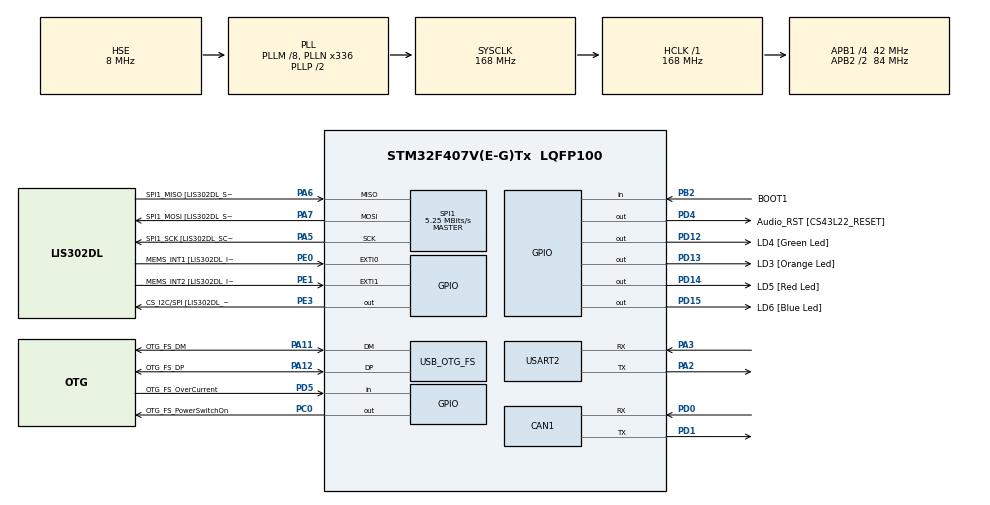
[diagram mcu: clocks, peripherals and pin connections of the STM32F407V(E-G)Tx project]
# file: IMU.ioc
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CAN1.BS1=CAN_BS1_16TQ
CAN1.BS2=CAN_BS2_8TQ
CAN1.CalculateTimeBit=9523
CAN1.CalculateTimeQuantum=380.95238095238096
CAN1.SJW=CAN_SJW_4TQ
Mcu.Family=STM32F4
Mcu.Name=STM32F407V(E-G)Tx
Mcu.Package=LQFP100
NVIC.OTG_FS_IRQn=true\:0\:0\:false
NVIC.PriorityGroup=NVIC_PRIORITYGROUP_4
NVIC.TIM8_UP_TIM13_IRQn=true\:0\:0\:false
NVIC.USART2_IRQn=true\:0\:0\:false
PA10.GPIO_Label=OTG_FS_ID
PA10.GPIO_Mode=GPIO_MODE_AF_PP
PA10.GPIO_PuPd=GPIO_NOPULL
PA10.GPIO_Speed=GPIO_SPEED_LOW
PA10.Signal=USB_OTG_FS_ID
PA11.GPIO_Label=OTG_FS_DM
PA11.GPIO_Mode=GPIO_MODE_AF_PP
PA11.GPIO_PuPd=GPIO_NOPULL
PA11.GPIO_Speed=GPIO_SPEED_LOW
PA11.Mode=Device_Only
PA11.Signal=USB_OTG_FS_DM
PA12.GPIO_Label=OTG_FS_DP
PA12.GPIO_Mode=GPIO_MODE_AF_PP
PA12.GPIO_PuPd=GPIO_NOPULL
PA12.GPIO_Speed=GPIO_SPEED_LOW
PA12.Mode=Device_Only
PA12.Signal=USB_OTG_FS_DP
PA13.GPIO_Label=SWDIO
PA13.Mode=Trace-Asynchronous_SW
PA13.Signal=SYS_JTMS-SWDIO
PA14.GPIO_Label=SWCLK
PA14.Mode=Trace-Asynchronous_SW
PA14.Signal=SYS_JTCK-SWCLK
PA2.Mode=Multiprocessor_communication
PA2.Signal=USART2_TX
PA3.Mode=Multiprocessor_communication
PA3.Signal=USART2_RX
PA4.GPIO_Label=I2S3_WS [CS43L22_LRCK]
PA4.GPIO_Mode=GPIO_MODE_AF_PP
PA4.GPIO_PuPd=GPIO_NOPULL
PA4.GPIO_Speed=GPIO_SPEED_LOW
PA4.Signal=I2S3_WS
PA5.GPIO_Label=SPI1_SCK [LIS302DL_SCL/SPC]
PA5.GPIO_Mode=GPIO_MODE_AF_PP
PA5.GPIO_PuPd=GPIO_NOPULL
PA5.GPIO_Speed=GPIO_SPEED_LOW
PA5.Mode=Full_Duplex_Master
PA5.Signal=SPI1_SCK
PA6.GPIO_Label=SPI1_MISO [LIS302DL_SDO]
PA6.GPIO_Mode=GPIO_MODE_AF_PP
PA6.GPIO_PuPd=GPIO_NOPULL
PA6.GPIO_Speed=GPIO_SPEED_LOW
PA6.Mode=Full_Duplex_Master
PA6.Signal=SPI1_MISO
PA7.GPIO_Label=SPI1_MOSI [LIS302DL_SDA/SDI/SDO]
PA7.GPIO_Mode=GPIO_MODE_AF_PP
PA7.GPIO_PuPd=GPIO_NOPULL
PA7.GPIO_Speed=GPIO_SPEED_LOW
PA7.Mode=Full_Duplex_Master
PA7.Signal=SPI1_MOSI
PA9.GPIO_Label=VBUS_FS
PA9.GPIO_Mode=GPIO_MODE_INPUT
PA9.GPIO_PuPd=GPIO_NOPULL
PA9.Signal=USB_OTG_FS_VBUS
PB10.GPIO_Label=CLK_IN [MP45DT02_CLK]
PB10.GPIO_Mode=GPIO_MODE_AF_PP
PB10.GPIO_PuPd=GPIO_NOPULL
PB10.GPIO_Speed=GPIO_SPEED_LOW
PB10.Signal=I2S2_CK
PB2.GPIO_Label=BOOT1
PB2.GPIO_Mode=GPIO_MODE_INPUT
PB2.GPIO_PuPd=GPIO_NOPULL
PB2.Signal=GPIO_Input
PB3.GPIO_Label=SWO
PB3.Mode=Trace-Asynchronous_SW
PB3.Signal=SYS_JTDO-SWO
PB6.GPIO_Label=Audio_SCL [CS43L22_SCL]
PB6.GPIO_Mode=GPIO_MODE_AF_OD
PB6.GPIO_PuPd=GPIO_NOPULL
PB6.GPIO_PuPdOD=GPIO_PULLUP
PB6.GPIO_Speed=GPIO_SPEED_LOW
PB6.Signal=I2C1_SCL
PB9.GPIO_Label=Audio_SDA [CS43L22_SDA]
PB9.GPIO_Mode=GPIO_MODE_AF_OD
PB9.GPIO_PuPd=GPIO_NOPULL
PB9.GPIO_PuPdOD=GPIO_PULLUP
PB9.GPIO_Speed=GPIO_SPEED_LOW
PB9.Signal=I2C1_SDA
PC0.GPIO_Label=OTG_FS_PowerSwitchOn
PC0.GPIO_ModeDefaultOutputPP=GPIO_MODE_OUTPUT_PP
PC0.GPIO_PuPd=GPIO_NOPULL
PC0.GPIO_Speed=GPIO_SPEED_LOW
PC0.Signal=GPIO_Output
PC10.GPIO_Label=I2S3_SCK [CS43L22_SCLK]
PC10.GPIO_Mode=GPIO_MODE_AF_PP
PC10.GPIO_PuPd=GPIO_NOPULL
PC10.GPIO_Speed=GPIO_SPEED_LOW
PC10.Signal=I2S3_CK
PC12.GPIO_Label=I2S3_SD [CS43L22_SDIN]
PC12.GPIO_Mode=GPIO_MODE_AF_PP
PC12.GPIO_PuPd=GPIO_NOPULL
PC12.GPIO_Speed=GPIO_SPEED_LOW
PC12.Signal=I2S3_SD
PC14-OSC32_IN.GPIO_Label=PC14-OSC32_IN
PC14-OSC32_IN.Signal=RCC_OSC32_IN
PC15-OSC32_OUT.GPIO_Label=PC15-OSC32_OUT
PC15-OSC32_OUT.Signal=RCC_OSC32_OUT
PC3.GPIO_Label=PDM_OUT [MP45DT02_DOUT]
PC3.GPIO_Mode=GPIO_MODE_AF_PP
PC3.GPIO_PuPd=GPIO_NOPULL
PC3.GPIO_Speed=GPIO_SPEED_LOW
PC3.Signal=I2S2_SD
PC7.GPIO_Label=I2S3_MCK [CS43L22_MCLK]
PC7.GPIO_Mode=GPIO_MODE_AF_PP
PC7.GPIO_PuPd=GPIO_NOPULL
PC7.GPIO_Speed=GPIO_SPEED_LOW
PC7.Signal=I2S3_MCK
PD0.Mode=Master
PD0.Signal=CAN1_RX
PD1.Mode=Master
PD1.Signal=CAN1_TX
PD12.GPIO_Label=LD4 [Green Led]
PD12.GPIO_ModeDefaultOutputPP=GPIO_MODE_OUTPUT_PP
PD12.GPIO_PuPd=GPIO_NOPULL
PD12.GPIO_Speed=GPIO_SPEED_LOW
PD12.Signal=GPIO_Output
PD13.GPIO_Label=LD3 [Orange Led]
PD13.GPIO_ModeDefaultOutputPP=GPIO_MODE_OUTPUT_PP
PD13.GPIO_PuPd=GPIO_NOPULL
PD13.GPIO_Speed=GPIO_SPEED_LOW
PD13.Signal=GPIO_Output
PD14.GPIO_Label=LD5 [Red Led]
PD14.GPIO_ModeDefaultOutputPP=GPIO_MODE_OUTPUT_PP
PD14.GPIO_PuPd=GPIO_NOPULL
PD14.GPIO_Speed=GPIO_SPEED_LOW
PD14.Signal=GPIO_Output
PD15.GPIO_Label=LD6 [Blue Led]
PD15.GPIO_ModeDefaultOutputPP=GPIO_MODE_OUTPUT_PP
PD15.GPIO_PuPd=GPIO_NOPULL
PD15.GPIO_Speed=GPIO_SPEED_LOW
PD15.Signal=GPIO_Output
PD4.GPIO_Label=Audio_RST [CS43L22_RESET]
PD4.GPIO_ModeDefaultOutputPP=GPIO_MODE_OUTPUT_PP
PD4.GPIO_PuPd=GPIO_NOPULL
PD4.GPIO_Speed=GPIO_SPEED_LOW
PD4.Signal=GPIO_Output
PD5.GPIO_Label=OTG_FS_OverCurrent
PD5.GPIO_Mode=GPIO_MODE_INPUT
PD5.GPIO_PuPd=GPIO_NOPULL
PD5.Signal=GPIO_Input
PE0.GPIO_Label=MEMS_INT1 [LIS302DL_INT1]
PE0.GPIO_ModeDefaultEXTI=GPIO_MODE_IT_RISING
PE0.GPIO_PuPd=GPIO_NOPULL
PE0.Signal=GPXTI0
PE1.GPIO_Label=MEMS_INT2 [LIS302DL_INT2]
PE1.GPIO_ModeDefaultEXTI=GPIO_MODE_EVT_RISING
PE1.GPIO_PuPd=GPIO_NOPULL
PE1.Signal=GPXTI1
PE3.GPIO_Label=CS_I2C/SPI [LIS302DL_CS_I2C/SPI]
PE3.GPIO_ModeDefaultOutputPP=GPIO_MODE_OUTPUT_PP
PE3.GPIO_PuPd=GPIO_NOPULL
PE3.GPIO_Speed=GPIO_SPEED_LOW
PE3.Signal=GPIO_Output
PH0-OSC_IN.GPIO_Label=PH0-OSC_IN
PH0-OSC_IN.Mode=HSE-External-Oscillator
PH0-OSC_IN.Signal=RCC_OSC_IN
PH1-OSC_OUT.GPIO_Label=PH1-OSC_OUT
PH1-OSC_OUT.Mode=HSE-External-Oscillator
PH1-OSC_OUT.Signal=RCC_OSC_OUT
ProjectManager.TargetToolchain=SW4STM32
RCC.AHBFreq_Value=168000000
RCC.APB1CLKDivider=RCC_HCLK_DIV4
RCC.APB1Freq_Value=42000000
RCC.APB1TimFreq_Value=84000000
RCC.APB2CLKDivider=RCC_HCLK_DIV2
RCC.APB2Freq_Value=84000000
RCC.APB2TimFreq_Value=168000000
RCC.CortexFreq_Value=168000000
RCC.HCLKFreq_Value=168000000
RCC.HSE_VALUE=8000000
RCC.HSI_VALUE=16000000
RCC.LSE_VALUE=32768
RCC.PLLM=8
RCC.PLLN=336
RCC.PLLQ=7
RCC.SYSCLKFreq_VALUE=168000000
RCC.SYSCLKSource=RCC_SYSCLKSOURCE_PLLCLK
RCC.VCOOutputFreq_Value=336000000
SPI1.BaudRatePrescaler=SPI_BAUDRATEPRESCALER_16
SPI1.CalculateBaudRate=5.25 MBits/s
SPI1.Mode=SPI_MODE_MASTER
TIM13.ClockDivision=TIM_CLOCKDIVISION_DIV2
TIM13.Period=0
TIM13.Prescaler=42000
USB_DEVICE.CLASS_NAME-CDC_FS=CDC
USB_DEVICE.USBD_HandleTypeDef-CDC_FS=hUsbDeviceFS
USB_DEVICE.VirtualMode-CDC_FS=Cdc
USB_DEVICE.VirtualModeFS=Cdc_FS
USB_OTG_FS.VirtualMode=Device_Only
VP_TIM13_VS_ClockSourceINT.Mode=Enable_Timer
VP_USB_DEVICE_VS_USB_DEVICE_CDC_FS.Mode=CDC_FS
board=STM32F4DISCOVERY

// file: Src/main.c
/**
  ******************************************************************************
  * File Name          : main.c
  * Description        : Main program body
  ******************************************************************************
  *
  * COPYRIGHT(c) 2016 STMicroelectronics
  *
  * Redistribution and use in source and binary forms, with or without modification,
  * are permitted provided that the following conditions are met:
  *   1. Redistributions of source code must retain the above copyright notice,
  *      this list of conditions and the following disclaimer.
  *   2. Redistributions in binary form must reproduce the above copyright notice,
  *      this list of conditions and the following disclaimer in the documentation
  *      and/or other materials provided with the distribution.
  *   3. Neither the name of STMicroelectronics nor the names of its contributors
  *      may be used to endorse or promote products derived from this software
  *      without specific prior written permission.
  *
  * THIS SOFTWARE IS PROVIDED BY THE COPYRIGHT HOLDERS AND CONTRIBUTORS "AS IS"
  * AND ANY EXPRESS OR IMPLIED WARRANTIES, INCLUDING, BUT NOT LIMITED TO, THE
  * IMPLIED WARRANTIES OF MERCHANTABILITY AND FITNESS FOR A PARTICULAR PURPOSE ARE
  * DISCLAIMED. IN NO EVENT SHALL THE COPYRIGHT HOLDER OR CONTRIBUTORS BE LIABLE
  * FOR ANY DIRECT, INDIRECT, INCIDENTAL, SPECIAL, EXEMPLARY, OR CONSEQUENTIAL
  * DAMAGES (INCLUDING, BUT NOT LIMITED TO, PROCUREMENT OF SUBSTITUTE GOODS OR
  * SERVICES; LOSS OF USE, DATA, OR PROFITS; OR BUSINESS INTERRUPTION) HOWEVER
  * CAUSED AND ON ANY THEORY OF LIABILITY, WHETHER IN CONTRACT, STRICT LIABILITY,
  * OR TORT (INCLUDING NEGLIGENCE OR OTHERWISE) ARISING IN ANY WAY OUT OF THE USE
  * OF THIS SOFTWARE, EVEN IF ADVISED OF THE POSSIBILITY OF SUCH DAMAGE.
  *
  ******************************************************************************
  */

/**
 * @author: Engin Subasi
 */
#include "stm32f4xx_hal.h"
#include "usb_device.h"
#include "stm32f4xx_it.h"
#include "usbd_cdc_if.h"

/* USER CODE BEGIN Includes */
#include <stdio.h>
#include <string.h>

#include "USBD_CDC.h"

#include "LIS3DSH_HAL.h"
#include "stm32f4xx_hal_spi.h"
/* USER CODE END Includes */

CAN_HandleTypeDef hcan1;

SPI_HandleTypeDef hspi1;

TIM_HandleTypeDef htim13;

UART_HandleTypeDef huart2;

/* USER CODE BEGIN PV */
/* Private variables ---------------------------------------------------------*/
uint8_t traTemp[64];

/* USER CODE END PV */

void SystemClock_Config(void);
static void MX_GPIO_Init(void);
static void MX_CAN1_Init(void);
static void MX_SPI1_Init(void);
static void MX_TIM13_Init(void);
static void MX_USART2_UART_Init(void);

/* USER CODE BEGIN PFP */
/* Private function prototypes -----------------------------------------------*/
void appMain1(void);
void appMain2(void);

/* USER CODE END PFP */

int main(void)
{

  /* MCU Configuration----------------------------------------------------------*/

  /* Reset of all peripherals, Initializes the Flash interface and the Systick. */
  HAL_Init();

  /* Configure the system clock */
  SystemClock_Config();

  /* Initialize all configured peripherals */
  MX_GPIO_Init();
  MX_CAN1_Init();
  MX_SPI1_Init();
  MX_TIM13_Init();
  MX_USART2_UART_Init();
  MX_USB_DEVICE_Init();

  /* USER CODE BEGIN 2 */
  HAL_TIM_Base_Start_IT(&htim13);

  LIS3DSH_HAL_Init(&hspi1);

  LIS3DSH_HAL_WriteReg8(LIS3DSH_REG_CTRL4,0b10010111);
  LIS3DSH_HAL_WriteReg8(LIS3DSH_REG_OFFX,0);
  LIS3DSH_HAL_WriteReg8(LIS3DSH_REG_OFFY,0);
  LIS3DSH_HAL_WriteReg8(LIS3DSH_REG_OFFZ,0);
  HAL_GPIO_TogglePin(GPIOD,GPIO_PIN_12);
  /* USER CODE END 2 */

  /* Infinite loop */
  /* USER CODE BEGIN WHILE */
  while(getMs()<1000);
  while (1)
  {
	  appMain1();
	  appMain2();

  /* USER CODE END WHILE */

  }

}

/** System Clock Configuration
*/
void SystemClock_Config(void)
{

  RCC_OscInitTypeDef RCC_OscInitStruct;
  RCC_ClkInitTypeDef RCC_ClkInitStruct;

  __PWR_CLK_ENABLE();

  __HAL_PWR_VOLTAGESCALING_CONFIG(PWR_REGULATOR_VOLTAGE_SCALE1);

  RCC_OscInitStruct.OscillatorType = RCC_OSCILLATORTYPE_HSE;
  RCC_OscInitStruct.HSEState = RCC_HSE_ON;
  RCC_OscInitStruct.PLL.PLLState = RCC_PLL_ON;
  RCC_OscInitStruct.PLL.PLLSource = RCC_PLLSOURCE_HSE;
  RCC_OscInitStruct.PLL.PLLM = 8;
  RCC_OscInitStruct.PLL.PLLN = 336;
  RCC_OscInitStruct.PLL.PLLP = RCC_PLLP_DIV2;
  RCC_OscInitStruct.PLL.PLLQ = 7;
  HAL_RCC_OscConfig(&RCC_OscInitStruct);

  RCC_ClkInitStruct.ClockType = RCC_CLOCKTYPE_SYSCLK|RCC_CLOCKTYPE_PCLK1
                              |RCC_CLOCKTYPE_PCLK2;
  RCC_ClkInitStruct.SYSCLKSource = RCC_SYSCLKSOURCE_PLLCLK;
  RCC_ClkInitStruct.AHBCLKDivider = RCC_SYSCLK_DIV1;
  RCC_ClkInitStruct.APB1CLKDivider = RCC_HCLK_DIV4;
  RCC_ClkInitStruct.APB2CLKDivider = RCC_HCLK_DIV2;
  HAL_RCC_ClockConfig(&RCC_ClkInitStruct, FLASH_LATENCY_5);

  HAL_SYSTICK_Config(HAL_RCC_GetHCLKFreq()/1000);

  HAL_SYSTICK_CLKSourceConfig(SYSTICK_CLKSOURCE_HCLK);

}

/* CAN1 init function */
void MX_CAN1_Init(void)
{

  hcan1.Instance = CAN1;
  hcan1.Init.Prescaler = 16;
  hcan1.Init.Mode = CAN_MODE_NORMAL;
  hcan1.Init.SJW = CAN_SJW_4TQ;
  hcan1.Init.BS1 = CAN_BS1_16TQ;
  hcan1.Init.BS2 = CAN_BS2_8TQ;
  hcan1.Init.TTCM = DISABLE;
  hcan1.Init.ABOM = DISABLE;
  hcan1.Init.AWUM = DISABLE;
  hcan1.Init.NART = DISABLE;
  hcan1.Init.RFLM = DISABLE;
  hcan1.Init.TXFP = DISABLE;
  HAL_CAN_Init(&hcan1);

}

/* SPI1 init function */
void MX_SPI1_Init(void)
{

  hspi1.Instance = SPI1;
  hspi1.Init.Mode = SPI_MODE_MASTER;
  hspi1.Init.Direction = SPI_DIRECTION_2LINES;
  hspi1.Init.DataSize = SPI_DATASIZE_8BIT;

  hspi1.Init.CLKPolarity = SPI_POLARITY_LOW;
 		  hspi1.Init.CLKPhase = SPI_PHASE_1EDGE;

  hspi1.Init.NSS = SPI_NSS_SOFT;
  hspi1.Init.BaudRatePrescaler = SPI_BAUDRATEPRESCALER_8;
  hspi1.Init.FirstBit = SPI_FIRSTBIT_MSB;
  hspi1.Init.TIMode = SPI_TIMODE_DISABLED;
  hspi1.Init.CRCCalculation = SPI_CRCCALCULATION_DISABLED;
  hspi1.Init.CRCPolynomial = 10;
  HAL_SPI_Init(&hspi1);

}

/* TIM13 init function */
void MX_TIM13_Init(void)
{

  htim13.Instance = TIM13;
  htim13.Init.Prescaler = 1;
  htim13.Init.CounterMode = TIM_COUNTERMODE_UP;
  htim13.Init.Period = 42000;
  htim13.Init.ClockDivision = TIM_CLOCKDIVISION_DIV2;
  HAL_TIM_Base_Init(&htim13);

}

/* USART2 init function */
void MX_USART2_UART_Init(void)
{

  huart2.Instance = USART2;
  huart2.Init.BaudRate = 115200;
  huart2.Init.WordLength = UART_WORDLENGTH_8B;
  huart2.Init.StopBits = UART_STOPBITS_1;
  huart2.Init.Parity = UART_PARITY_NONE;
  huart2.Init.Mode = UART_MODE_TX_RX;
  huart2.Init.HwFlowCtl = UART_HWCONTROL_NONE;
  huart2.Init.OverSampling = UART_OVERSAMPLING_16;
  HAL_MultiProcessor_Init(&huart2, 0, UART_WAKEUPMETHODE_IDLELINE);

}

/** Configure pins as
        * Analog
        * Input
        * Output
        * EVENT_OUT
        * EXTI
     PC3   ------> I2S2_SD
     PA4   ------> I2S3_WS
     PB10   ------> I2S2_CK
     PC7   ------> I2S3_MCK
     PC10   ------> I2S3_CK
     PC12   ------> I2S3_SD
     PB6   ------> I2C1_SCL
     PB9   ------> I2C1_SDA
*/
void MX_GPIO_Init(void)
{

  GPIO_InitTypeDef GPIO_InitStruct;

  /* GPIO Ports Clock Enable */
  __GPIOE_CLK_ENABLE();
  __GPIOC_CLK_ENABLE();
  __GPIOH_CLK_ENABLE();
  __GPIOA_CLK_ENABLE();
  __GPIOB_CLK_ENABLE();
  __GPIOD_CLK_ENABLE();

  /*Configure GPIO pin : PE3 */
  GPIO_InitStruct.Pin = GPIO_PIN_3;
  GPIO_InitStruct.Mode = GPIO_MODE_OUTPUT_PP;
  GPIO_InitStruct.Pull = GPIO_NOPULL;
  GPIO_InitStruct.Speed = GPIO_SPEED_HIGH;
  HAL_GPIO_Init(GPIOE, &GPIO_InitStruct);

  /*Configure GPIO pin : PC0 */
  GPIO_InitStruct.Pin = GPIO_PIN_0;
  GPIO_InitStruct.Mode = GPIO_MODE_OUTPUT_PP;
  GPIO_InitStruct.Pull = GPIO_NOPULL;
  GPIO_InitStruct.Speed = GPIO_SPEED_LOW;
  HAL_GPIO_Init(GPIOC, &GPIO_InitStruct);

  /*Configure GPIO pin : PC3 */
  GPIO_InitStruct.Pin = GPIO_PIN_3;
  GPIO_InitStruct.Mode = GPIO_MODE_AF_PP;
  GPIO_InitStruct.Pull = GPIO_NOPULL;
  GPIO_InitStruct.Speed = GPIO_SPEED_LOW;
  GPIO_InitStruct.Alternate = GPIO_AF5_SPI2;
  HAL_GPIO_Init(GPIOC, &GPIO_InitStruct);

  /*Configure GPIO pin : PA4 */
  GPIO_InitStruct.Pin = GPIO_PIN_4;
  GPIO_InitStruct.Mode = GPIO_MODE_AF_PP;
  GPIO_InitStruct.Pull = GPIO_NOPULL;
  GPIO_InitStruct.Speed = GPIO_SPEED_LOW;
  GPIO_InitStruct.Alternate = GPIO_AF6_SPI3;
  HAL_GPIO_Init(GPIOA, &GPIO_InitStruct);

  /*Configure GPIO pin : PB2 */
  GPIO_InitStruct.Pin = GPIO_PIN_2;
  GPIO_InitStruct.Mode = GPIO_MODE_INPUT;
  GPIO_InitStruct.Pull = GPIO_NOPULL;
  HAL_GPIO_Init(GPIOB, &GPIO_InitStruct);

  /*Configure GPIO pin : PB10 */
  GPIO_InitStruct.Pin = GPIO_PIN_10;
  GPIO_InitStruct.Mode = GPIO_MODE_AF_PP;
  GPIO_InitStruct.Pull = GPIO_NOPULL;
  GPIO_InitStruct.Speed = GPIO_SPEED_LOW;
  GPIO_InitStruct.Alternate = GPIO_AF5_SPI2;
  HAL_GPIO_Init(GPIOB, &GPIO_InitStruct);

  /*Configure GPIO pins : PD12 PD13 PD14 PD15
                           PD4 */
  GPIO_InitStruct.Pin = GPIO_PIN_12|GPIO_PIN_13|GPIO_PIN_14|GPIO_PIN_15
                          |GPIO_PIN_4;
  GPIO_InitStruct.Mode = GPIO_MODE_OUTPUT_PP;
  GPIO_InitStruct.Pull = GPIO_NOPULL;
  GPIO_InitStruct.Speed = GPIO_SPEED_LOW;
  HAL_GPIO_Init(GPIOD, &GPIO_InitStruct);

  /*Configure GPIO pins : PC7 PC10 PC12 */
  GPIO_InitStruct.Pin = GPIO_PIN_7|GPIO_PIN_10|GPIO_PIN_12;
  GPIO_InitStruct.Mode = GPIO_MODE_AF_PP;
  GPIO_InitStruct.Pull = GPIO_NOPULL;
  GPIO_InitStruct.Speed = GPIO_SPEED_LOW;
  GPIO_InitStruct.Alternate = GPIO_AF6_SPI3;
  HAL_GPIO_Init(GPIOC, &GPIO_InitStruct);

  /*Configure GPIO pin : PD5 */
  GPIO_InitStruct.Pin = GPIO_PIN_5;
  GPIO_InitStruct.Mode = GPIO_MODE_INPUT;
  GPIO_InitStruct.Pull = GPIO_NOPULL;
  HAL_GPIO_Init(GPIOD, &GPIO_InitStruct);

  /*Configure GPIO pins : PB6 PB9 */
  GPIO_InitStruct.Pin = GPIO_PIN_6|GPIO_PIN_9;
  GPIO_InitStruct.Mode = GPIO_MODE_AF_OD;
  GPIO_InitStruct.Pull = GPIO_PULLUP;
  GPIO_InitStruct.Speed = GPIO_SPEED_LOW;
  GPIO_InitStruct.Alternate = GPIO_AF4_I2C1;
  HAL_GPIO_Init(GPIOB, &GPIO_InitStruct);

  /*Configure GPIO pin : PE0 */
  GPIO_InitStruct.Pin = GPIO_PIN_0;
  GPIO_InitStruct.Mode = GPIO_MODE_IT_RISING;
  GPIO_InitStruct.Pull = GPIO_NOPULL;
  HAL_GPIO_Init(GPIOE, &GPIO_InitStruct);

  /*Configure GPIO pin : PE1 */
  GPIO_InitStruct.Pin = GPIO_PIN_1;
  GPIO_InitStruct.Mode = GPIO_MODE_EVT_RISING;
  GPIO_InitStruct.Pull = GPIO_NOPULL;
  HAL_GPIO_Init(GPIOE, &GPIO_InitStruct);

}

/* USER CODE BEGIN 4 */
/*
 * @about:
 */
void appMain1(void){
	static uint32_t refTime = 1,refCounter = 0;

	if( refTime < getMs() - refCounter ){
		refCounter = getMs();

		int16_t x = (LIS3DSH_HAL_ReadReg8(LIS3DSH_REG_OUTXL)|(LIS3DSH_HAL_ReadReg8(LIS3DSH_REG_OUTXH)<<8));
		int16_t y = (LIS3DSH_HAL_ReadReg8(LIS3DSH_REG_OUTYL)|(LIS3DSH_HAL_ReadReg8(LIS3DSH_REG_OUTYH)<<8));
		int16_t z = (LIS3DSH_HAL_ReadReg8(LIS3DSH_REG_OUTZL)|(LIS3DSH_HAL_ReadReg8(LIS3DSH_REG_OUTZH)<<8));

		x = ( x * 1000 ) / 16777;
		y = ( y * 1000 ) / 16777;
		z = ( z * 1000 ) / 16777;

		//sprintf((char*)traTemp,"X%5dY%5dZ%5dT%6lu\r\n",x,y,z,getMs());
		sprintf((char*)traTemp,"X%dY%dZ%dT%lu\r\n",x,y,z,getMs());
		//sprintf((char*)traTemp,"%5d\r\n",x);

		CDC_Transmit_FS(traTemp,strlen((char*)traTemp));

		HAL_GPIO_TogglePin(GPIOD,GPIO_PIN_12);
	}
}

/*
 * @about:
 */
void appMain2(void){
	static uint32_t refTime = 1000,refCounter = 0;
	uint8_t recTemp[64];
	uint32_t recTempLen;

	if( refTime < getMs() - refCounter ){
		refCounter = getMs();

		//HAL_GPIO_TogglePin(GPIOD,GPIO_PIN_14);

		//CDC_Receive_FS(recTemp,&recTempLen);

		if(recTempLen>0){
			HAL_GPIO_TogglePin(GPIOD,GPIO_PIN_14);

		}

	}
}

/* USER CODE END 4 */

/************************ (C) COPYRIGHT STMicroelectronics *****END OF FILE****/
